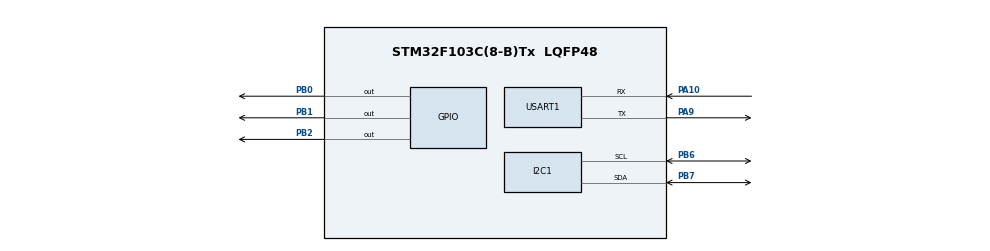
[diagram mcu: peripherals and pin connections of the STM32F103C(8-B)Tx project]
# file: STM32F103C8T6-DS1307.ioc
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Mcu.Family=STM32F1
Mcu.Name=STM32F103C(8-B)Tx
Mcu.Package=LQFP48
NVIC.PriorityGroup=NVIC_PRIORITYGROUP_4
PA10.Mode=Asynchronous
PA10.Signal=USART1_RX
PA9.Mode=Asynchronous
PA9.Signal=USART1_TX
PB0.Signal=GPIO_Output
PB1.Signal=GPIO_Output
PB2.Signal=GPIO_Output
PB6.Mode=I2C
PB6.Signal=I2C1_SCL
PB7.Mode=I2C
PB7.Signal=I2C1_SDA
ProjectManager.HeapSize=0x200
ProjectManager.StackSize=0x400
ProjectManager.TargetToolchain=STM32CubeIDE
RCC.APB1Freq_Value=8000000
RCC.APB2Freq_Value=8000000
USART1.VirtualMode=VM_ASYNC
VP_SYS_VS_ND.Mode=No_Debug
board=custom

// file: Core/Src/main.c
/* USER CODE BEGIN Header */
/**
  ******************************************************************************
  * @file           : main.c
  * @brief          : Main program body
  ******************************************************************************
  * @attention
  *
  * Copyright (c) 2022 STMicroelectronics.
  * All rights reserved.
  *
  * This software is licensed under terms that can be found in the LICENSE file
  * in the root directory of this software component.
  * If no LICENSE file comes with this software, it is provided AS-IS.
  *
  ******************************************************************************
  */
/* USER CODE END Header */
#include "main.h"

/* USER CODE BEGIN PTD */
#define DS1307_ADDR 	0x68
#define DS1307_WRITE 	0x00
#define DS1307_READ 	0x01
/* USER CODE END PTD */

I2C_HandleTypeDef hi2c1;

UART_HandleTypeDef huart1;

/* USER CODE BEGIN PV */
uint8_t num = 0;

uint8_t Led7[10] = {0xC0, 0xF9, 0xA4, 0xB0};
/* USER CODE END PV */

void SystemClock_Config(void);
static void MX_GPIO_Init(void);
static void MX_I2C1_Init(void);
static void MX_USART1_UART_Init(void);

/* USER CODE BEGIN 0 */

void writeData(uint8_t data)
{
	for(uint8_t i = 0; i<8; i++)
	{
		if(((data<<i)&0x80) == 0x80) GPIOB->ODR |= (1<<1);
		else GPIOB->ODR &= ~(1<<1);
		GPIOB->ODR |= (1<<0);
		GPIOB->ODR &= ~(1<<0);
	}
	GPIOB->ODR |= (1<<2);
	GPIOB->ODR &= ~(1<<2);
}

/* USER CODE END 0 */

int main(void)
{

  /* MCU Configuration--------------------------------------------------------*/

  /* Reset of all peripherals, Initializes the Flash interface and the Systick. */
  HAL_Init();

  /* Configure the system clock */
  SystemClock_Config();

  /* Initialize all configured peripherals */
  MX_GPIO_Init();
  MX_I2C1_Init();
  MX_USART1_UART_Init();

  /* Infinite loop */
  /* USER CODE BEGIN WHILE */
  while (1)
  {
//	  writeData(0x12);
	  writeData(Led7[num]);
	  HAL_Delay(200);
	  num++; if(num>3)num=0;
    /* USER CODE END WHILE */

  }
}

void SystemClock_Config(void)
{
  RCC_OscInitTypeDef RCC_OscInitStruct = {0};
  RCC_ClkInitTypeDef RCC_ClkInitStruct = {0};

  /** Initializes the RCC Oscillators according to the specified parameters
  * in the RCC_OscInitTypeDef structure.
  */
  RCC_OscInitStruct.OscillatorType = RCC_OSCILLATORTYPE_HSI;
  RCC_OscInitStruct.HSIState = RCC_HSI_ON;
  RCC_OscInitStruct.HSICalibrationValue = RCC_HSICALIBRATION_DEFAULT;
  RCC_OscInitStruct.PLL.PLLState = RCC_PLL_NONE;
  if (HAL_RCC_OscConfig(&RCC_OscInitStruct) != HAL_OK)
  {
    Error_Handler();
  }
  /** Initializes the CPU, AHB and APB buses clocks
  */
  RCC_ClkInitStruct.ClockType = RCC_CLOCKTYPE_HCLK|RCC_CLOCKTYPE_SYSCLK
                              |RCC_CLOCKTYPE_PCLK1|RCC_CLOCKTYPE_PCLK2;
  RCC_ClkInitStruct.SYSCLKSource = RCC_SYSCLKSOURCE_HSI;
  RCC_ClkInitStruct.AHBCLKDivider = RCC_SYSCLK_DIV1;
  RCC_ClkInitStruct.APB1CLKDivider = RCC_HCLK_DIV1;
  RCC_ClkInitStruct.APB2CLKDivider = RCC_HCLK_DIV1;

  if (HAL_RCC_ClockConfig(&RCC_ClkInitStruct, FLASH_LATENCY_0) != HAL_OK)
  {
    Error_Handler();
  }
}

static void MX_I2C1_Init(void)
{

  hi2c1.Instance = I2C1;
  hi2c1.Init.ClockSpeed = 100000;
  hi2c1.Init.DutyCycle = I2C_DUTYCYCLE_2;
  hi2c1.Init.OwnAddress1 = 0;
  hi2c1.Init.AddressingMode = I2C_ADDRESSINGMODE_7BIT;
  hi2c1.Init.DualAddressMode = I2C_DUALADDRESS_DISABLE;
  hi2c1.Init.OwnAddress2 = 0;
  hi2c1.Init.GeneralCallMode = I2C_GENERALCALL_DISABLE;
  hi2c1.Init.NoStretchMode = I2C_NOSTRETCH_DISABLE;
  if (HAL_I2C_Init(&hi2c1) != HAL_OK)
  {
    Error_Handler();
  }

}

static void MX_USART1_UART_Init(void)
{

  huart1.Instance = USART1;
  huart1.Init.BaudRate = 115200;
  huart1.Init.WordLength = UART_WORDLENGTH_8B;
  huart1.Init.StopBits = UART_STOPBITS_1;
  huart1.Init.Parity = UART_PARITY_NONE;
  huart1.Init.Mode = UART_MODE_TX_RX;
  huart1.Init.HwFlowCtl = UART_HWCONTROL_NONE;
  huart1.Init.OverSampling = UART_OVERSAMPLING_16;
  if (HAL_UART_Init(&huart1) != HAL_OK)
  {
    Error_Handler();
  }

}

static void MX_GPIO_Init(void)
{
  GPIO_InitTypeDef GPIO_InitStruct = {0};

  /* GPIO Ports Clock Enable */
  __HAL_RCC_GPIOB_CLK_ENABLE();
  __HAL_RCC_GPIOA_CLK_ENABLE();

  /*Configure GPIO pin Output Level */
  HAL_GPIO_WritePin(GPIOB, GPIO_PIN_0|GPIO_PIN_1|GPIO_PIN_2, GPIO_PIN_RESET);

  /*Configure GPIO pins : PB0 PB1 PB2 */
  GPIO_InitStruct.Pin = GPIO_PIN_0|GPIO_PIN_1|GPIO_PIN_2;
  GPIO_InitStruct.Mode = GPIO_MODE_OUTPUT_PP;
  GPIO_InitStruct.Pull = GPIO_NOPULL;
  GPIO_InitStruct.Speed = GPIO_SPEED_FREQ_LOW;
  HAL_GPIO_Init(GPIOB, &GPIO_InitStruct);

}

void Error_Handler(void)
{
  __disable_irq();
  while (1)
  {
  }
}
